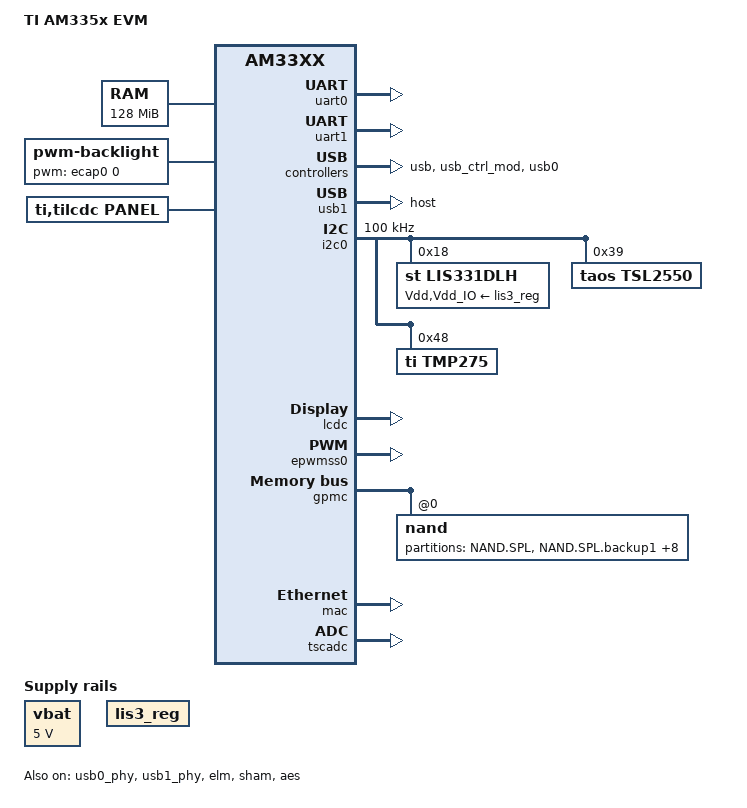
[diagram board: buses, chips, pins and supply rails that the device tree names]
/*
 * Copyright (C) 2012 Texas Instruments Incorporated - http://www.ti.com/
 *
 * This program is free software; you can redistribute it and/or modify
 * it under the terms of the GNU General Public License version 2 as
 * published by the Free Software Foundation.
 */
/dts-v1/;

#include "am33xx.dtsi"
#include <dt-bindings/interrupt-controller/irq.h>

/ {
	model = "TI AM335x EVM";
	compatible = "ti,am335x-evm", "ti,am33xx";

	chosen {
		stdout-path = &uart0;
		tick-timer = &timer2;
	};

	cpus {
		cpu@0 {
			/* cpu0-supply = <&vdd1_reg>; */
		};
	};

	memory {
		device_type = "memory";
		reg = <0x80000000 0x8000000>; /* 128 MB */
	};

	vbat: fixedregulator@0 {
		compatible = "regulator-fixed";
		regulator-name = "vbat";
		regulator-min-microvolt = <5000000>;
		regulator-max-microvolt = <5000000>;
		regulator-boot-on;
	};

	lis3_reg: fixedregulator@1 {
		compatible = "regulator-fixed";
		regulator-name = "lis3_reg";
		regulator-boot-on;
	};

	backlight {
		compatible = "pwm-backlight";
		pwms = <&ecap0 0 50000 0>;
		brightness-levels = <0 51 53 56 62 75 101 152 255>;
		default-brightness-level = <8>;
	};

	panel {
		compatible = "ti,tilcdc,panel";
		status = "okay";
		pinctrl-names = "default";
		pinctrl-0 = <&lcd_pins_s0>;
		panel-info {
			ac-bias           = <255>;
			ac-bias-intrpt    = <0>;
			dma-burst-sz      = <16>;
			bpp               = <32>;
			fdd               = <0x80>;
			sync-edge         = <0>;
			sync-ctrl         = <1>;
			raster-order      = <0>;
			fifo-th           = <0>;
		};

		display-timings {
			800x480p62 {
				clock-frequency = <30000000>;
				hactive = <800>;
				vactive = <480>;
				hfront-porch = <39>;
				hback-porch = <39>;
				hsync-len = <47>;
				vback-porch = <29>;
				vfront-porch = <13>;
				vsync-len = <2>;
				hsync-active = <1>;
				vsync-active = <1>;
			};
		};
	};
};

&am33xx_pinmux {
	pinctrl-names = "default";
	pinctrl-0 = <&clkout2_pin>;

	i2c0_pins: pinmux_i2c0_pins {
		pinctrl-single,pins = <
			0x188 (PIN_INPUT_PULLUP | MUX_MODE0)	/* i2c0_sda.i2c0_sda */
			0x18c (PIN_INPUT_PULLUP | MUX_MODE0)	/* i2c0_scl.i2c0_scl */
		>;
	};

	uart0_pins: pinmux_uart0_pins {
		pinctrl-single,pins = <
			0x170 (PIN_INPUT_PULLUP | MUX_MODE0)	/* uart0_rxd.uart0_rxd */
			0x174 (PIN_OUTPUT_PULLDOWN | MUX_MODE0)	/* uart0_txd.uart0_txd */
		>;
	};

	uart1_pins: pinmux_uart1_pins {
		pinctrl-single,pins = <
			0x178 (PIN_INPUT | MUX_MODE0)		/* uart1_ctsn.uart1_ctsn */
			0x17C (PIN_OUTPUT_PULLDOWN | MUX_MODE0)	/* uart1_rtsn.uart1_rtsn */
			0x180 (PIN_INPUT_PULLUP | MUX_MODE0)	/* uart1_rxd.uart1_rxd */
			0x184 (PIN_OUTPUT_PULLDOWN | MUX_MODE0)	/* uart1_txd.uart1_txd */
		>;
	};

	clkout2_pin: pinmux_clkout2_pin {
		pinctrl-single,pins = <
			0x1b4 (PIN_OUTPUT_PULLDOWN | MUX_MODE3)	/* xdma_event_intr1.clkout2 */
		>;
	};

	nandflash_pins_s0: nandflash_pins_s0 {
		pinctrl-single,pins = <
			0x0 (PIN_INPUT_PULLUP | MUX_MODE0)	/* gpmc_ad0.gpmc_ad0 */
			0x4 (PIN_INPUT_PULLUP | MUX_MODE0)	/* gpmc_ad1.gpmc_ad1 */
			0x8 (PIN_INPUT_PULLUP | MUX_MODE0)	/* gpmc_ad2.gpmc_ad2 */
			0xc (PIN_INPUT_PULLUP | MUX_MODE0)	/* gpmc_ad3.gpmc_ad3 */
			0x10 (PIN_INPUT_PULLUP | MUX_MODE0)	/* gpmc_ad4.gpmc_ad4 */
			0x14 (PIN_INPUT_PULLUP | MUX_MODE0)	/* gpmc_ad5.gpmc_ad5 */
			0x18 (PIN_INPUT_PULLUP | MUX_MODE0)	/* gpmc_ad6.gpmc_ad6 */
			0x1c (PIN_INPUT_PULLUP | MUX_MODE0)	/* gpmc_ad7.gpmc_ad7 */
			0x70 (PIN_INPUT_PULLUP | MUX_MODE0)	/* gpmc_wait0.gpmc_wait0 */
			0x74 (PIN_INPUT_PULLUP | MUX_MODE7)	/* gpmc_wpn.gpio0_30 */
			0x7c (PIN_OUTPUT | MUX_MODE0)		/* gpmc_csn0.gpmc_csn0  */
			0x90 (PIN_OUTPUT | MUX_MODE0)		/* gpmc_advn_ale.gpmc_advn_ale */
			0x94 (PIN_OUTPUT | MUX_MODE0)		/* gpmc_oen_ren.gpmc_oen_ren */
			0x98 (PIN_OUTPUT | MUX_MODE0)		/* gpmc_wen.gpmc_wen */
			0x9c (PIN_OUTPUT | MUX_MODE0)		/* gpmc_be0n_cle.gpmc_be0n_cle */
		>;
	};

	ecap0_pins: backlight_pins {
		pinctrl-single,pins = <
			0x164 0x0	/* eCAP0_in_PWM0_out.eCAP0_in_PWM0_out MODE0 */
		>;
	};

	cpsw_default: cpsw_default {
		pinctrl-single,pins = <
			/* Slave 1 */
			0x114 (PIN_OUTPUT_PULLDOWN | MUX_MODE2)	/* mii1_txen.rgmii1_tctl */
			0x118 (PIN_INPUT_PULLDOWN | MUX_MODE2)	/* mii1_rxdv.rgmii1_rctl */
			0x11c (PIN_OUTPUT_PULLDOWN | MUX_MODE2)	/* mii1_txd3.rgmii1_td3 */
			0x120 (PIN_OUTPUT_PULLDOWN | MUX_MODE2)	/* mii1_txd2.rgmii1_td2 */
			0x124 (PIN_OUTPUT_PULLDOWN | MUX_MODE2)	/* mii1_txd1.rgmii1_td1 */
			0x128 (PIN_OUTPUT_PULLDOWN | MUX_MODE2)	/* mii1_txd0.rgmii1_td0 */
			0x12c (PIN_OUTPUT_PULLDOWN | MUX_MODE2)	/* mii1_txclk.rgmii1_tclk */
			0x130 (PIN_INPUT_PULLDOWN | MUX_MODE2)	/* mii1_rxclk.rgmii1_rclk */
			0x134 (PIN_INPUT_PULLDOWN | MUX_MODE2)	/* mii1_rxd3.rgmii1_rd3 */
			0x138 (PIN_INPUT_PULLDOWN | MUX_MODE2)	/* mii1_rxd2.rgmii1_rd2 */
			0x13c (PIN_INPUT_PULLDOWN | MUX_MODE2)	/* mii1_rxd1.rgmii1_rd1 */
			0x140 (PIN_INPUT_PULLDOWN | MUX_MODE2)	/* mii1_rxd0.rgmii1_rd0 */
		>;
	};

	cpsw_sleep: cpsw_sleep {
		pinctrl-single,pins = <
			/* Slave 1 reset value */
			0x114 (PIN_INPUT_PULLDOWN | MUX_MODE7)
			0x118 (PIN_INPUT_PULLDOWN | MUX_MODE7)
			0x11c (PIN_INPUT_PULLDOWN | MUX_MODE7)
			0x120 (PIN_INPUT_PULLDOWN | MUX_MODE7)
			0x124 (PIN_INPUT_PULLDOWN | MUX_MODE7)
			0x128 (PIN_INPUT_PULLDOWN | MUX_MODE7)
			0x12c (PIN_INPUT_PULLDOWN | MUX_MODE7)
			0x130 (PIN_INPUT_PULLDOWN | MUX_MODE7)
			0x134 (PIN_INPUT_PULLDOWN | MUX_MODE7)
			0x138 (PIN_INPUT_PULLDOWN | MUX_MODE7)
			0x13c (PIN_INPUT_PULLDOWN | MUX_MODE7)
			0x140 (PIN_INPUT_PULLDOWN | MUX_MODE7)
		>;
	};

	lcd_pins_s0: lcd_pins_s0 {
		pinctrl-single,pins = <
			0x20 (PIN_OUTPUT | MUX_MODE1)		/* gpmc_ad8.lcd_data23 */
			0x24 (PIN_OUTPUT | MUX_MODE1)		/* gpmc_ad9.lcd_data22 */
			0x28 (PIN_OUTPUT | MUX_MODE1)		/* gpmc_ad10.lcd_data21 */
			0x2c (PIN_OUTPUT | MUX_MODE1)		/* gpmc_ad11.lcd_data20 */
			0x30 (PIN_OUTPUT | MUX_MODE1)		/* gpmc_ad12.lcd_data19 */
			0x34 (PIN_OUTPUT | MUX_MODE1)		/* gpmc_ad13.lcd_data18 */
			0x38 (PIN_OUTPUT | MUX_MODE1)		/* gpmc_ad14.lcd_data17 */
			0x3c (PIN_OUTPUT | MUX_MODE1)		/* gpmc_ad15.lcd_data16 */
			0xa0 (PIN_OUTPUT | MUX_MODE0)		/* lcd_data0.lcd_data0 */
			0xa4 (PIN_OUTPUT | MUX_MODE0)		/* lcd_data1.lcd_data1 */
			0xa8 (PIN_OUTPUT | MUX_MODE0)		/* lcd_data2.lcd_data2 */
			0xac (PIN_OUTPUT | MUX_MODE0)		/* lcd_data3.lcd_data3 */
			0xb0 (PIN_OUTPUT | MUX_MODE0)		/* lcd_data4.lcd_data4 */
			0xb4 (PIN_OUTPUT | MUX_MODE0)		/* lcd_data5.lcd_data5 */
			0xb8 (PIN_OUTPUT | MUX_MODE0)		/* lcd_data6.lcd_data6 */
			0xbc (PIN_OUTPUT | MUX_MODE0)		/* lcd_data7.lcd_data7 */
			0xc0 (PIN_OUTPUT | MUX_MODE0)		/* lcd_data8.lcd_data8 */
			0xc4 (PIN_OUTPUT | MUX_MODE0)		/* lcd_data9.lcd_data9 */
			0xc8 (PIN_OUTPUT | MUX_MODE0)		/* lcd_data10.lcd_data10 */
			0xcc (PIN_OUTPUT | MUX_MODE0)		/* lcd_data11.lcd_data11 */
			0xd0 (PIN_OUTPUT | MUX_MODE0)		/* lcd_data12.lcd_data12 */
			0xd4 (PIN_OUTPUT | MUX_MODE0)		/* lcd_data13.lcd_data13 */
			0xd8 (PIN_OUTPUT | MUX_MODE0)		/* lcd_data14.lcd_data14 */
			0xdc (PIN_OUTPUT | MUX_MODE0)		/* lcd_data15.lcd_data15 */
			0xe0 (PIN_OUTPUT | MUX_MODE0)		/* lcd_vsync.lcd_vsync */
			0xe4 (PIN_OUTPUT | MUX_MODE0)		/* lcd_hsync.lcd_hsync */
			0xe8 (PIN_OUTPUT | MUX_MODE0)		/* lcd_pclk.lcd_pclk */
			0xec (PIN_OUTPUT | MUX_MODE0)		/* lcd_ac_bias_en.lcd_ac_bias_en */
		>;
	};

	dcan1_pins_default: dcan1_pins_default {
		pinctrl-single,pins = <
			0x168 (PIN_OUTPUT | MUX_MODE2) /* uart0_ctsn.d_can1_tx */
			0x16c (PIN_INPUT_PULLDOWN | MUX_MODE2) /* uart0_rtsn.d_can1_rx */
		>;
	};
};

&uart0 {
	pinctrl-names = "default";
	pinctrl-0 = <&uart0_pins>;

	status = "okay";
};

&uart1 {
	pinctrl-names = "default";
	pinctrl-0 = <&uart1_pins>;

	status = "okay";
};

&usb {
	status = "okay";
};

&usb_ctrl_mod {
	status = "okay";
};

&usb0_phy {
	status = "okay";
};

&usb1_phy {
	status = "okay";
};

&usb0 {
	status = "okay";
};

&usb1 {
	status = "okay";
	dr_mode = "host";
};

&cppi41dma  {
	status = "okay";
};

&i2c0 {
	pinctrl-names = "default";
	pinctrl-0 = <&i2c0_pins>;

	status = "okay";
	clock-frequency = <100000>;

	lis331dlh: lis331dlh@18 {
		compatible = "st,lis331dlh", "st,lis3lv02d";
		reg = <0x18>;
		Vdd-supply = <&lis3_reg>;
		Vdd_IO-supply = <&lis3_reg>;

		st,click-single-x;
		st,click-single-y;
		st,click-single-z;
		st,click-thresh-x = <10>;
		st,click-thresh-y = <10>;
		st,click-thresh-z = <10>;
		st,irq1-click;
		st,irq2-click;
		st,wakeup-x-lo;
		st,wakeup-x-hi;
		st,wakeup-y-lo;
		st,wakeup-y-hi;
		st,wakeup-z-lo;
		st,wakeup-z-hi;
		st,min-limit-x = <120>;
		st,min-limit-y = <120>;
		st,min-limit-z = <140>;
		st,max-limit-x = <550>;
		st,max-limit-y = <550>;
		st,max-limit-z = <750>;
	};

	tsl2550: tsl2550@39 {
		compatible = "taos,tsl2550";
		reg = <0x39>;
	};

	tmp275: tmp275@48 {
		compatible = "ti,tmp275";
		reg = <0x48>;
	};
};

&lcdc {
	status = "okay";
};

&elm {
	status = "okay";
};

&epwmss0 {
	status = "okay";

	ecap0: ecap@48300100 {
		status = "okay";
		pinctrl-names = "default";
		pinctrl-0 = <&ecap0_pins>;
	};
};

&gpmc {
	status = "okay";
	pinctrl-names = "default";
	pinctrl-0 = <&nandflash_pins_s0>;
	ranges = <0 0 0x08000000 0x1000000>;	/* CS0: 16MB for NAND */
	nand@0,0 {
		reg = <0 0 4>; /* CS0, offset 0, IO size 4 */
		ti,nand-ecc-opt = "bch8";
		ti,elm-id = <&elm>;
		nand-bus-width = <8>;
		gpmc,device-width = <1>;
		gpmc,sync-clk-ps = <0>;
		gpmc,cs-on-ns = <0>;
		gpmc,cs-rd-off-ns = <44>;
		gpmc,cs-wr-off-ns = <44>;
		gpmc,adv-on-ns = <6>;
		gpmc,adv-rd-off-ns = <34>;
		gpmc,adv-wr-off-ns = <44>;
		gpmc,we-on-ns = <0>;
		gpmc,we-off-ns = <40>;
		gpmc,oe-on-ns = <0>;
		gpmc,oe-off-ns = <54>;
		gpmc,access-ns = <64>;
		gpmc,rd-cycle-ns = <82>;
		gpmc,wr-cycle-ns = <82>;
		gpmc,wait-on-read = "true";
		gpmc,wait-on-write = "true";
		gpmc,bus-turnaround-ns = <0>;
		gpmc,cycle2cycle-delay-ns = <0>;
		gpmc,clk-activation-ns = <0>;
		gpmc,wait-monitoring-ns = <0>;
		gpmc,wr-access-ns = <40>;
		gpmc,wr-data-mux-bus-ns = <0>;
		/* MTD partition table */
		/* All SPL-* partitions are sized to minimal length
		 * which can be independently programmable. For
		 * NAND flash this is equal to size of erase-block */
		#address-cells = <1>;
		#size-cells = <1>;
		partition@0 {
			label = "NAND.SPL";
			reg = <0x00000000 0x000020000>;
		};
		partition@1 {
			label = "NAND.SPL.backup1";
			reg = <0x00020000 0x00020000>;
		};
		partition@2 {
			label = "NAND.SPL.backup2";
			reg = <0x00040000 0x00020000>;
		};
		partition@3 {
			label = "NAND.SPL.backup3";
			reg = <0x00060000 0x00020000>;
		};
		partition@4 {
			label = "NAND.u-boot-spl-os";
			reg = <0x00080000 0x00040000>;
		};
		partition@5 {
			label = "NAND.u-boot";
			reg = <0x000C0000 0x00100000>;
		};
		partition@6 {
			label = "NAND.u-boot-env";
			reg = <0x001C0000 0x00020000>;
		};
		partition@7 {
			label = "NAND.u-boot-env.backup1";
			reg = <0x001E0000 0x00020000>;
		};
		partition@8 {
			label = "NAND.kernel";
			reg = <0x00200000 0x00800000>;
		};
		partition@9 {
			label = "NAND.file-system";
			reg = <0x00A00000 0x07600000>;
		};
	};
};

&mac {
	pinctrl-names = "default", "sleep";
	pinctrl-0 = <&cpsw_default>;
	pinctrl-1 = <&cpsw_sleep>;
	status = "okay";
	slaves = <1>;
};

&tscadc {
	status = "okay";
	tsc {
		ti,wires = <4>;
		ti,x-plate-resistance = <200>;
		ti,coordinate-readouts = <5>;
		ti,wire-config = <0x00 0x11 0x22 0x33>;
		ti,charge-delay = <0x400>;
	};

	adc {
		ti,adc-channels = <4 5 6 7>;
	};
};

&edma {
	ti,edma-xbar-event-map = /bits/ 16 <1 12
					    2 13>;
};

&sham {
	status = "okay";
};

&aes {
	status = "okay";
};

&dcan1 {
	status = "disabled";	/* Enable only if Profile 1 is selected */
	pinctrl-names = "default";
	pinctrl-0 = <&dcan1_pins_default>;
};
